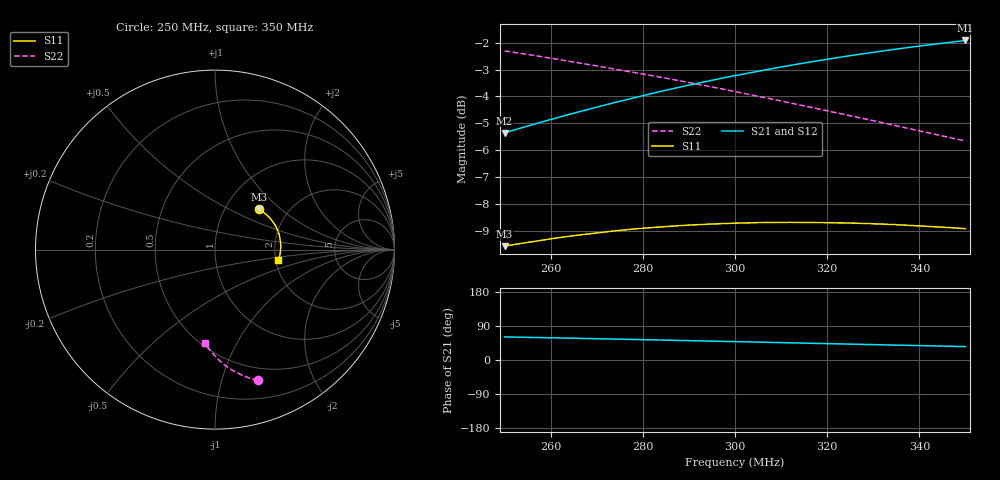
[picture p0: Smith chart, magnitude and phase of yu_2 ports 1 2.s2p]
#  HZ  S  DB  R  50.00
! Rohde & Schwarz Vector Network Analyzer
! Rohde-Schwarz,ZNL3-2Port,1323001203101687,1.37.1.9-20.11.2.22
! Created: UTC 11/14/2023, 4:11:34 PM
! freq[Hz]  db:S11  ang:S11  db:S21  ang:S21  db:S12  ang:S12  db:S22  ang:S22
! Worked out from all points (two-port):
!   801 points, 250 MHz to 350 MHz, reference 50 ohm
!   highest |S21| = -1.92 dB at 350 MHz (marker M1); lowest = -5.4 dB at 250 MHz (marker M2)
!   |S21| within 3 dB of the highest: 258.8 MHz to end of sweep
!   lowest |S11| = -9.6 dB at 250 MHz (marker M3), VSWR 1.99, Z = 71.7 + j36.1 ohm
!   |S11| at or under -10 dB: nowhere
!   |S22| runs from -5.7 to -2.3 dB; largest |S21 - S12| = 0.0068
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2.5e8  -9.58 42.4  -5.36 60.9  -5.36 60.3  -2.31 -71.9
2.51375e8  -9.53 41.6  -5.29 60.6  -5.29 60.0  -2.34 -72.3
2.5775e8  -9.36 37.9  -4.97 59.1  -4.97 58.6  -2.51 -74.1
2.62625e8  -9.24 35.1  -4.74 58.0  -4.73 57.4  -2.65 -75.5
2.6675e8  -9.15 32.7  -4.55 57.0  -4.54 56.5  -2.77 -76.6
2.7525e8  -8.98 27.9  -4.17 54.9  -4.17 54.4  -3.02 -78.9
2.7875e8  -8.93 26.0  -4.02 54.0  -4.02 53.5  -3.13 -79.9
2.83375e8  -8.86 23.4  -3.84 52.9  -3.83 52.4  -3.27 -81.1
2.875e8  -8.82 21.2  -3.67 51.8  -3.67 51.3  -3.40 -82.2
2.91375e8  -8.78 19.1  -3.53 50.8  -3.52 50.3  -3.53 -83.2
2.955e8  -8.75 16.9  -3.38 49.7  -3.38 49.2  -3.67 -84.2
3e8  -8.72 14.5  -3.23 48.5  -3.22 48.0  -3.82 -85.3
3.0375e8  -8.70 12.5  -3.10 47.5  -3.10 47.0  -3.95 -86.2
3.0825e8  -8.69 10.2  -2.96 46.3  -2.95 45.8  -4.11 -87.3
3.1225e8  -8.69 8.2  -2.84 45.2  -2.83 44.7  -4.25 -88.2
3.1675e8  -8.69 6.0  -2.71 44.0  -2.70 43.5  -4.41 -89.2
3.24375e8  -8.71 2.2  -2.50 42.0  -2.49 41.5  -4.69 -90.9
3.28875e8  -8.73 0.1  -2.39 40.8  -2.38 40.3  -4.86 -91.9
3.33375e8  -8.76 -2.0  -2.28 39.6  -2.27 39.1  -5.03 -92.8
3.42e8  -8.84 -6.0  -2.08 37.4  -2.07 36.9  -5.36 -94.6
3.48625e8  -8.91 -8.9  -1.95 35.7  -1.94 35.2  -5.61 -95.9
3.5e8  -8.92 -9.5  -1.92 35.3  -1.91 34.8  -5.66 -96.1
